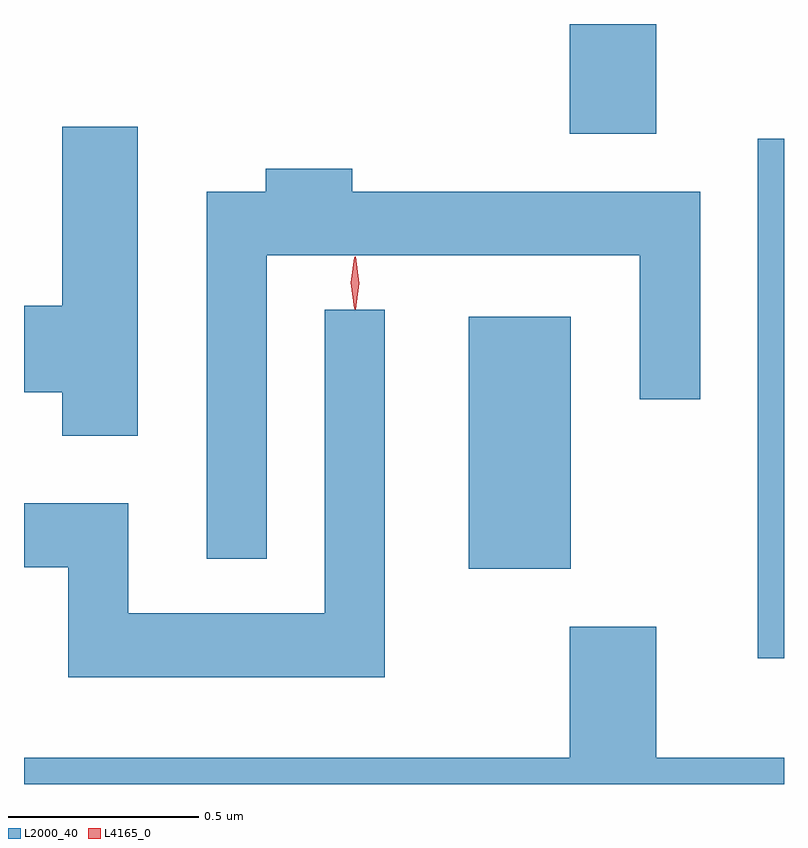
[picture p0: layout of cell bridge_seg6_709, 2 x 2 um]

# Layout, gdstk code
import gdstk
lib = gdstk.Library(unit=1e-6, precision=1e-09)
def R(c, l, rs):  # rectangles x0, y0, x1, y1
    for r in rs: c.add(gdstk.rectangle(r[:2], r[2:], *l))
def P(c, l, *ps):  # polygons
    for p in ps: c.add(gdstk.Polygon(p, *l))
L2000_40 = (2000, 40)
L4165_0 = (4165, 0)

bridge_seg6_709 = lib.new_cell('bridge_seg6_709')
R(bridge_seg6_709, L2000_40, [(311.106,1586.086,311.175,1587.453), (310.346,1586.321,310.614,1586.984), (310.611,1587.466,310.839,1587.755)])
P(bridge_seg6_709, L2000_40, [(309.474,1587.484),(309.276,1587.484),(309.276,1587.014),(309.175,1587.014),(309.175,1586.786),(309.276,1586.786),(309.276,1586.671),(309.474,1586.671)],
  [(309.814,1587.146),(310.796,1587.146),(310.796,1586.768),(310.954,1586.768),(310.954,1587.314),(310.039,1587.314),(310.039,1587.374),(309.811,1587.374),(309.811,1587.314),(309.656,1587.314),(309.656,1586.348),(309.814,1586.348)],
  [(310.124,1587.003),(309.966,1587.003),(309.966,1586.204),(309.449,1586.204),(309.449,1586.494),(309.175,1586.494),(309.175,1586.326),(309.291,1586.326),(309.291,1586.036),(310.124,1586.036)],
  [(311.175,1585.824),(310.839,1585.824),(310.839,1586.169),(310.611,1586.169),(310.611,1585.824),(309.175,1585.824),(309.175,1585.755),(311.175,1585.755)])
P(bridge_seg6_709, L4165_0, [(310.047,1587.003),(310.046,1587.004),(310.037,1587.073),(310.046,1587.142),(310.047,1587.143),(310.048,1587.142),(310.057,1587.073),(310.048,1587.004)],
  [(310.044,1587.007),(310.035,1587.074),(310.044,1587.14),(310.045,1587.141),(310.045,1587.14),(310.055,1587.074),(310.045,1587.007),(310.045,1587.007)])

lib.write_gds('bridge_seg6_709.gds')
